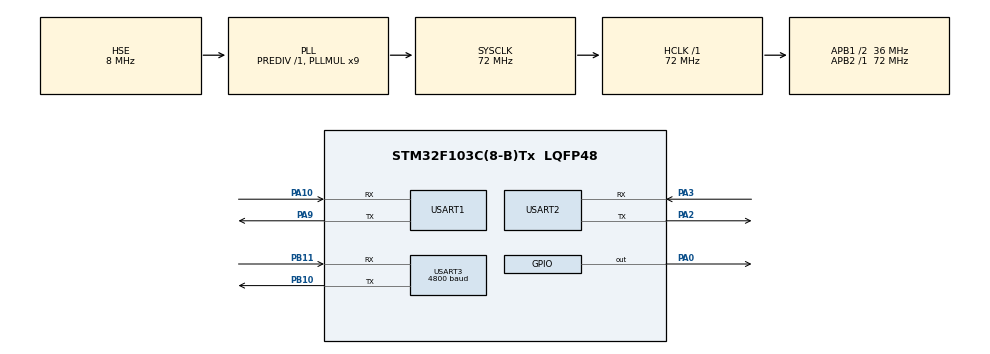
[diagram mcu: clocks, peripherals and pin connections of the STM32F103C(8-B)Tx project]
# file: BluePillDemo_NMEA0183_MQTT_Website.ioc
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Dma.Request0=USART1_RX
Dma.Request1=USART1_TX
Dma.Request2=USART3_RX
Dma.USART1_RX.0.Direction=DMA_PERIPH_TO_MEMORY
Dma.USART1_RX.0.Instance=DMA1_Channel5
Dma.USART1_RX.0.MemDataAlignment=DMA_MDATAALIGN_BYTE
Dma.USART1_RX.0.MemInc=DMA_MINC_ENABLE
Dma.USART1_RX.0.Mode=DMA_CIRCULAR
Dma.USART1_RX.0.PeriphDataAlignment=DMA_PDATAALIGN_BYTE
Dma.USART1_RX.0.PeriphInc=DMA_PINC_DISABLE
Dma.USART1_RX.0.Priority=DMA_PRIORITY_VERY_HIGH
Dma.USART1_TX.1.Direction=DMA_MEMORY_TO_PERIPH
Dma.USART1_TX.1.Instance=DMA1_Channel4
Dma.USART1_TX.1.MemDataAlignment=DMA_MDATAALIGN_BYTE
Dma.USART1_TX.1.MemInc=DMA_MINC_ENABLE
Dma.USART1_TX.1.Mode=DMA_NORMAL
Dma.USART1_TX.1.PeriphDataAlignment=DMA_PDATAALIGN_BYTE
Dma.USART1_TX.1.PeriphInc=DMA_PINC_DISABLE
Dma.USART1_TX.1.Priority=DMA_PRIORITY_VERY_HIGH
Dma.USART3_RX.2.Direction=DMA_PERIPH_TO_MEMORY
Dma.USART3_RX.2.Instance=DMA1_Channel3
Dma.USART3_RX.2.MemDataAlignment=DMA_MDATAALIGN_BYTE
Dma.USART3_RX.2.MemInc=DMA_MINC_ENABLE
Dma.USART3_RX.2.Mode=DMA_CIRCULAR
Dma.USART3_RX.2.PeriphDataAlignment=DMA_PDATAALIGN_BYTE
Dma.USART3_RX.2.PeriphInc=DMA_PINC_DISABLE
Dma.USART3_RX.2.Priority=DMA_PRIORITY_HIGH
FREERTOS.Queues01=commandQueue,1,AtCommandPacket_t,0,Static,commandQueueBuffer,commandQueueControlBlock;responseQueue,1,AtResponsePacket_t,0,Static,responseQueueBuffer,responseQueueControlBlock
FREERTOS.RecursiveMutexes01=modemMutex,Static,modemMutexControlBlock
FREERTOS.Tasks01=main,24,250,mainTask,Default,NULL,Static,mainBuffer,mainControlBlock;modem,8,350,modemTask,Default,NULL,Static,modemBuffer,modemControlBlock
FREERTOS.configCHECK_FOR_STACK_OVERFLOW=2
IWDG.Prescaler=IWDG_PRESCALER_256
Mcu.Family=STM32F1
Mcu.Name=STM32F103C(8-B)Tx
Mcu.Package=LQFP48
NVIC.DMA1_Channel3_IRQn=true\:5\:0\:false\:false\:true\:true\:false\:true
NVIC.DMA1_Channel4_IRQn=true\:5\:0\:false\:false\:true\:true\:false\:true
NVIC.DMA1_Channel5_IRQn=true\:5\:0\:false\:false\:true\:true\:false\:true
NVIC.PriorityGroup=NVIC_PRIORITYGROUP_4
NVIC.TIM1_UP_IRQn=true\:0\:0\:false\:false\:true\:false\:false\:true
NVIC.TimeBase=TIM1_UP_IRQn
NVIC.TimeBaseIP=TIM1
NVIC.USART1_IRQn=true\:5\:0\:false\:false\:true\:true\:true\:true
NVIC.USART3_IRQn=true\:5\:0\:false\:false\:true\:true\:true\:true
PA0-WKUP.Signal=GPIO_Output
PA10.Mode=Asynchronous
PA10.Signal=USART1_RX
PA13.Mode=Serial_Wire
PA13.Signal=SYS_JTMS-SWDIO
PA14.Mode=Serial_Wire
PA14.Signal=SYS_JTCK-SWCLK
PA2.Mode=Asynchronous
PA2.Signal=USART2_TX
PA3.Mode=Asynchronous
PA3.Signal=USART2_RX
PA9.Mode=Asynchronous
PA9.Signal=USART1_TX
PB10.Mode=Asynchronous
PB10.Signal=USART3_TX
PB11.Mode=Asynchronous
PB11.Signal=USART3_RX
PC14-OSC32_IN.Mode=LSE-External-Oscillator
PC14-OSC32_IN.Signal=RCC_OSC32_IN
PC15-OSC32_OUT.Mode=LSE-External-Oscillator
PC15-OSC32_OUT.Signal=RCC_OSC32_OUT
PD0-OSC_IN.Mode=HSE-External-Oscillator
PD0-OSC_IN.Signal=RCC_OSC_IN
PD1-OSC_OUT.Mode=HSE-External-Oscillator
PD1-OSC_OUT.Signal=RCC_OSC_OUT
ProjectManager.HeapSize=0x200
ProjectManager.StackSize=0x400
ProjectManager.TargetToolchain=STM32CubeIDE
RCC.ADCPresc=RCC_ADCPCLK2_DIV6
RCC.AHBFreq_Value=72000000
RCC.APB1CLKDivider=RCC_HCLK_DIV2
RCC.APB1Freq_Value=36000000
RCC.APB1TimFreq_Value=72000000
RCC.APB2Freq_Value=72000000
RCC.APB2TimFreq_Value=72000000
RCC.HCLKFreq_Value=72000000
RCC.PLLMUL=RCC_PLL_MUL9
RCC.PLLSourceVirtual=RCC_PLLSOURCE_HSE
RCC.SYSCLKFreq_VALUE=72000000
RCC.SYSCLKSource=RCC_SYSCLKSOURCE_PLLCLK
RCC.USBFreq_Value=72000000
USART1.VirtualMode=VM_ASYNC
USART2.VirtualMode=VM_ASYNC
USART3.BaudRate=4800
USART3.VirtualMode=VM_ASYNC
VP_FREERTOS_VS_CMSIS_V2.Mode=CMSIS_V2
VP_IWDG_VS_IWDG.Mode=IWDG_Activate
VP_SYS_VS_tim1.Mode=TIM1
board=custom

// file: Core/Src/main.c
/* USER CODE BEGIN Header */
/**
  ******************************************************************************
  * @file           : main.c
  * @brief          : Main program body
  ******************************************************************************
  * @attention
  *
  * <h2><center>&copy; Copyright (c) 2020 STMicroelectronics.
  * All rights reserved.</center></h2>
  *
  * This software component is licensed by ST under BSD 3-Clause license,
  * the "License"; You may not use this file except in compliance with the
  * License. You may obtain a copy of the License at:
  *                        opensource.org/licenses/BSD-3-Clause
  *
  ******************************************************************************
  */
/* USER CODE END Header */

#include "main.h"
#include "cmsis_os.h"

/* USER CODE BEGIN Includes */
#include <stdlib.h>
#include <stdint.h>
#include <stdbool.h>
#include <string.h>
#include <math.h>
#include "task.h"
#include "modem.h"
#include "buffered_serial.h"
#include "buffered_serial2.h"
#include "mqtt.h"
#include "printf.h"
#include "nmea.h"

/* USER CODE END Includes */

/* USER CODE BEGIN PD */

/**** SET YOUR OWN VALUES HERE ****/
#define ACCESS_POINT_NAME					"everywhere"			// SET YOUR OWN VALUE network settings
#define USER_NAME							"eesecure"				// SET YOUR OWN VALUE may be blank for some networks in which case change to NULL (not "NULL")
#define PASSWORD							"secure"				// SET YOUR OWN VALUE may be blank for some networks in which case change to NULL (not "NULL")
#define MQTT_PUBLISH_TOPIC_ROOT				"BluePillDemo"			// SET YOUR OWN VALUE topic root for all published values
//#error "Remove this line when you have set your own values above"

#define PUBLISH_PERIOD_MS					5000UL					// time in ms that changed values are published
#define MINIMUM_REPUBLISH_TIME_MS			30000UL					// time in ms that values are republished even if unchanged
#define NETWORK_REGISTRATION_WAIT_TIME_MS	30000UL					// time to wait for network registration before giving up

/* USER CODE END PD */

/* USER CODE BEGIN PM */
#define MY_SNPRINTF snprintf	// newlib snprintf with float support is too heavy and not threadsafe so using local snprintf from printf.c
								// but this causes a compile warning that float support is off so use this macro to prevent it

/* USER CODE END PM */

IWDG_HandleTypeDef hiwdg;

UART_HandleTypeDef huart1;
UART_HandleTypeDef huart2;
UART_HandleTypeDef huart3;
DMA_HandleTypeDef hdma_usart1_rx;
DMA_HandleTypeDef hdma_usart1_tx;
DMA_HandleTypeDef hdma_usart3_rx;

typedef StaticTask_t osStaticThreadDef_t;
typedef StaticQueue_t osStaticMessageQDef_t;
typedef StaticSemaphore_t osStaticMutexDef_t;
osThreadId_t mainHandle;
uint32_t mainBuffer[ 250 ];
osStaticThreadDef_t mainControlBlock;
osThreadId_t modemHandle;
uint32_t modemBuffer[ 350 ];
osStaticThreadDef_t modemControlBlock;
osMessageQueueId_t commandQueueHandle;
uint8_t commandQueueBuffer[ 1 * sizeof( AtCommandPacket_t ) ];
osStaticMessageQDef_t commandQueueControlBlock;
osMessageQueueId_t responseQueueHandle;
uint8_t responseQueueBuffer[ 1 * sizeof( AtResponsePacket_t ) ];
osStaticMessageQDef_t responseQueueControlBlock;
osMutexId_t modemMutexHandle;
osStaticMutexDef_t modemMutexControlBlock;
/* USER CODE BEGIN PV */
osEventFlagsId_t modemTaskStartedEventHandle;
static bool subscribeResponseReceived;
static uint16_t subscribeResponsePacketIdentifier;

// RMC receive message
static void RMC_receive_callback(char *data);
static nmea_message_data_RMC_t nmea_message_data_RMC;
static const nmea_receive_message_details_t nmea_receive_message_details_RMC = {nmea_message_RMC, RMC_receive_callback};
static float newSog;
static float oldSog;
static bool sogReceived;
static uint32_t sogLastPubTime = UINT32_MAX / 2;
static int16_t newCog;
static int16_t oldCog;
static bool cogReceived;
static uint32_t cogLastPubTime = UINT32_MAX / 2;
static float newLatitude;
static float oldLatitude;
static bool latReceived;
static uint32_t latitudeLastPubTime = UINT32_MAX / 2;
static float newLongitude;
static float oldLongitude;
static bool longReceived;
static uint32_t longitudeLastPubTime = UINT32_MAX / 2;

// DPT receive message
static void DPT_receive_callback(char *data);
static nmea_message_data_DPT_t nmea_message_data_DPT;
static const nmea_receive_message_details_t nmea_receive_message_details_DPT = {nmea_message_DPT, DPT_receive_callback};
static float newDepth;
static float oldDepth;
static bool depthReceived;
static uint32_t depthLastPubTime = UINT32_MAX / 2;

/* USER CODE END PV */

void SystemClock_Config(void);
static void MX_GPIO_Init(void);
static void MX_DMA_Init(void);
static void MX_USART1_UART_Init(void);
static void MX_USART2_UART_Init(void);
static void MX_IWDG_Init(void);
static void MX_USART3_UART_Init(void);
void mainTask(void *argument);
void modemTask(void *argument);

/* USER CODE BEGIN PFP */
void ModemDebugPrintStatus(const char *text, ModemStatus_t modemStatus);
void MqttDebugPrintStatus(const char *text, MqttStatus_t mqttStatus);
void PublishCallback(const char *topic, uint8_t topicLength, const uint8_t *payload, uint32_t payloadLength);
void PingResponseCallback(void);
void SubscribeResponseCallback(uint16_t packetIdentifier, bool success);
void UnsubscribeResponseCallback(uint16_t packetIdentifier);
static void DebugPrint(const char *text);

/* USER CODE END PFP */

/* USER CODE BEGIN 0 */

static void RMC_receive_callback(char *data)
{
	float int_part;
	float frac_part;

	if (nmea_decode_RMC(data, &nmea_message_data_RMC) == nmea_error_none)
	{
		if (nmea_message_data_RMC.status == 'A')
		{
			if (nmea_message_data_RMC.data_available & NMEA_RMC_SOG_PRESENT)
			{
				newSog = nmea_message_data_RMC.SOG;
				sogReceived = true;;
			}

			if (nmea_message_data_RMC.data_available & NMEA_RMC_COG_PRESENT)
			{
				newCog = nmea_message_data_RMC.COG;
				cogReceived = true;
			}

			if (nmea_message_data_RMC.data_available & NMEA_RMC_LATITUDE_PRESENT)
			{
				frac_part = modff(nmea_message_data_RMC.latitude / 100.0f, &int_part);
				newLatitude = int_part;
				newLatitude += frac_part / 0.6f;

				latReceived = true;
			}

			if (nmea_message_data_RMC.data_available & NMEA_RMC_LONGITUDE_PRESENT)
			{
				frac_part = modff(nmea_message_data_RMC.longitude / 100.0f, &int_part);
				newLongitude = int_part;
				newLongitude += frac_part / 0.6f;
				longReceived = true;
			}
		}
	}
}

static void DPT_receive_callback(char *data)
{
	if (nmea_decode_DPT(data, &nmea_message_data_DPT) == nmea_error_none)
	{
		if (nmea_message_data_DPT.data_available & NMEA_DPT_DEPTH_PRESENT)
		{
			newDepth = nmea_message_data_DPT.depth;
			depthReceived = true;;
		}
	}
}
// todo add more NMEA0183 message type callbacks here

void SubscribeResponseCallback(uint16_t packetIdentifier, bool success)
{
  subscribeResponseReceived = success;
  subscribeResponsePacketIdentifier = packetIdentifier;
}

void MqttDebugPrintStatus(const char *text, MqttStatus_t mqttStatus)
{
  DebugPrint(text);
  DebugPrint(": ");
  DebugPrint(MqttStatusToText(mqttStatus));
  DebugPrint("\r\n");
}

static void DebugPrint(const char *text)
{
  HAL_UART_Transmit(&huart2, (uint8_t *)text, strlen(text), 100U);
}

void ModemDebugPrintStatus(const char *text, ModemStatus_t modemStatus)
{
  DebugPrint(text);
  DebugPrint(": ");
  DebugPrint(ModemStatusToText(modemStatus));
  DebugPrint("\r\n");
}

/* USER CODE END 0 */

int main(void)
{

  /* MCU Configuration--------------------------------------------------------*/

  /* Reset of all peripherals, Initializes the Flash interface and the Systick. */
  HAL_Init();

  /* Configure the system clock */
  SystemClock_Config();

  /* Initialize all configured peripherals */
  MX_GPIO_Init();
  MX_DMA_Init();
  MX_USART1_UART_Init();
  MX_USART2_UART_Init();
  MX_IWDG_Init();
  MX_USART3_UART_Init();

  osKernelInitialize();

  /* Create the recursive mutex(es) */
  /* definition and creation of modemMutex */
  const osMutexAttr_t modemMutex_attributes = {
    .name = "modemMutex",
    .attr_bits = osMutexRecursive,
    .cb_mem = &modemMutexControlBlock,
    .cb_size = sizeof(modemMutexControlBlock),
  };
  modemMutexHandle = osMutexNew(&modemMutex_attributes);

  /* USER CODE BEGIN RTOS_SEMAPHORES */
  /* add semaphores, ... */
  modemTaskStartedEventHandle = osEventFlagsNew(NULL);

  /* USER CODE END RTOS_SEMAPHORES */

  /* Create the queue(s) */
  /* definition and creation of commandQueue */
  const osMessageQueueAttr_t commandQueue_attributes = {
    .name = "commandQueue",
    .cb_mem = &commandQueueControlBlock,
    .cb_size = sizeof(commandQueueControlBlock),
    .mq_mem = &commandQueueBuffer,
    .mq_size = sizeof(commandQueueBuffer)
  };
  commandQueueHandle = osMessageQueueNew (1, sizeof(AtCommandPacket_t), &commandQueue_attributes);

  /* definition and creation of responseQueue */
  const osMessageQueueAttr_t responseQueue_attributes = {
    .name = "responseQueue",
    .cb_mem = &responseQueueControlBlock,
    .cb_size = sizeof(responseQueueControlBlock),
    .mq_mem = &responseQueueBuffer,
    .mq_size = sizeof(responseQueueBuffer)
  };
  responseQueueHandle = osMessageQueueNew (1, sizeof(AtResponsePacket_t), &responseQueue_attributes);

  /* Create the thread(s) */
  /* definition and creation of main */
  const osThreadAttr_t main_attributes = {
    .name = "main",
    .stack_mem = &mainBuffer[0],
    .stack_size = sizeof(mainBuffer),
    .cb_mem = &mainControlBlock,
    .cb_size = sizeof(mainControlBlock),
    .priority = (osPriority_t) osPriorityNormal,
  };
  mainHandle = osThreadNew(mainTask, NULL, &main_attributes);

  /* definition and creation of modem */
  const osThreadAttr_t modem_attributes = {
    .name = "modem",
    .stack_mem = &modemBuffer[0],
    .stack_size = sizeof(modemBuffer),
    .cb_mem = &modemControlBlock,
    .cb_size = sizeof(modemControlBlock),
    .priority = (osPriority_t) osPriorityLow,
  };
  modemHandle = osThreadNew(modemTask, NULL, &modem_attributes);

  /* Start scheduler */
  osKernelStart();

  /* We should never get here as control is now taken by the scheduler */

  /* Infinite loop */
  while (1)
  {

  }
}

void SystemClock_Config(void)
{
  RCC_OscInitTypeDef RCC_OscInitStruct = {0};
  RCC_ClkInitTypeDef RCC_ClkInitStruct = {0};

  /** Initializes the CPU, AHB and APB busses clocks
  */
  RCC_OscInitStruct.OscillatorType = RCC_OSCILLATORTYPE_LSI|RCC_OSCILLATORTYPE_HSE;
  RCC_OscInitStruct.HSEState = RCC_HSE_ON;
  RCC_OscInitStruct.HSEPredivValue = RCC_HSE_PREDIV_DIV1;
  RCC_OscInitStruct.HSIState = RCC_HSI_ON;
  RCC_OscInitStruct.LSIState = RCC_LSI_ON;
  RCC_OscInitStruct.PLL.PLLState = RCC_PLL_ON;
  RCC_OscInitStruct.PLL.PLLSource = RCC_PLLSOURCE_HSE;
  RCC_OscInitStruct.PLL.PLLMUL = RCC_PLL_MUL9;
  if (HAL_RCC_OscConfig(&RCC_OscInitStruct) != HAL_OK)
  {
    Error_Handler();
  }
  /** Initializes the CPU, AHB and APB busses clocks
  */
  RCC_ClkInitStruct.ClockType = RCC_CLOCKTYPE_HCLK|RCC_CLOCKTYPE_SYSCLK
                              |RCC_CLOCKTYPE_PCLK1|RCC_CLOCKTYPE_PCLK2;
  RCC_ClkInitStruct.SYSCLKSource = RCC_SYSCLKSOURCE_PLLCLK;
  RCC_ClkInitStruct.AHBCLKDivider = RCC_SYSCLK_DIV1;
  RCC_ClkInitStruct.APB1CLKDivider = RCC_HCLK_DIV2;
  RCC_ClkInitStruct.APB2CLKDivider = RCC_HCLK_DIV1;

  if (HAL_RCC_ClockConfig(&RCC_ClkInitStruct, FLASH_LATENCY_2) != HAL_OK)
  {
    Error_Handler();
  }
}

static void MX_IWDG_Init(void)
{

  hiwdg.Instance = IWDG;
  hiwdg.Init.Prescaler = IWDG_PRESCALER_256;
  hiwdg.Init.Reload = 4095;
  if (HAL_IWDG_Init(&hiwdg) != HAL_OK)
  {
    Error_Handler();
  }

}

static void MX_USART1_UART_Init(void)
{

  huart1.Instance = USART1;
  huart1.Init.BaudRate = 115200;
  huart1.Init.WordLength = UART_WORDLENGTH_8B;
  huart1.Init.StopBits = UART_STOPBITS_1;
  huart1.Init.Parity = UART_PARITY_NONE;
  huart1.Init.Mode = UART_MODE_TX_RX;
  huart1.Init.HwFlowCtl = UART_HWCONTROL_NONE;
  huart1.Init.OverSampling = UART_OVERSAMPLING_16;
  if (HAL_UART_Init(&huart1) != HAL_OK)
  {
    Error_Handler();
  }

}

static void MX_USART2_UART_Init(void)
{

  huart2.Instance = USART2;
  huart2.Init.BaudRate = 115200;
  huart2.Init.WordLength = UART_WORDLENGTH_8B;
  huart2.Init.StopBits = UART_STOPBITS_1;
  huart2.Init.Parity = UART_PARITY_NONE;
  huart2.Init.Mode = UART_MODE_TX_RX;
  huart2.Init.HwFlowCtl = UART_HWCONTROL_NONE;
  huart2.Init.OverSampling = UART_OVERSAMPLING_16;
  if (HAL_UART_Init(&huart2) != HAL_OK)
  {
    Error_Handler();
  }

}

static void MX_USART3_UART_Init(void)
{

  huart3.Instance = USART3;
  huart3.Init.BaudRate = 4800;
  huart3.Init.WordLength = UART_WORDLENGTH_8B;
  huart3.Init.StopBits = UART_STOPBITS_1;
  huart3.Init.Parity = UART_PARITY_NONE;
  huart3.Init.Mode = UART_MODE_TX_RX;
  huart3.Init.HwFlowCtl = UART_HWCONTROL_NONE;
  huart3.Init.OverSampling = UART_OVERSAMPLING_16;
  if (HAL_UART_Init(&huart3) != HAL_OK)
  {
    Error_Handler();
  }

}

static void MX_DMA_Init(void)
{

  /* DMA controller clock enable */
  __HAL_RCC_DMA1_CLK_ENABLE();

  /* DMA interrupt init */
  /* DMA1_Channel3_IRQn interrupt configuration */
  HAL_NVIC_SetPriority(DMA1_Channel3_IRQn, 5, 0);
  HAL_NVIC_EnableIRQ(DMA1_Channel3_IRQn);
  /* DMA1_Channel4_IRQn interrupt configuration */
  HAL_NVIC_SetPriority(DMA1_Channel4_IRQn, 5, 0);
  HAL_NVIC_EnableIRQ(DMA1_Channel4_IRQn);
  /* DMA1_Channel5_IRQn interrupt configuration */
  HAL_NVIC_SetPriority(DMA1_Channel5_IRQn, 5, 0);
  HAL_NVIC_EnableIRQ(DMA1_Channel5_IRQn);

}

static void MX_GPIO_Init(void)
{
  GPIO_InitTypeDef GPIO_InitStruct = {0};

  /* GPIO Ports Clock Enable */
  __HAL_RCC_GPIOC_CLK_ENABLE();
  __HAL_RCC_GPIOD_CLK_ENABLE();
  __HAL_RCC_GPIOA_CLK_ENABLE();
  __HAL_RCC_GPIOB_CLK_ENABLE();

  /*Configure GPIO pin Output Level */
  HAL_GPIO_WritePin(GPIOA, GPIO_PIN_0, GPIO_PIN_RESET);

  /*Configure GPIO pin : PA0 */
  GPIO_InitStruct.Pin = GPIO_PIN_0;
  GPIO_InitStruct.Mode = GPIO_MODE_OUTPUT_PP;
  GPIO_InitStruct.Pull = GPIO_NOPULL;
  GPIO_InitStruct.Speed = GPIO_SPEED_FREQ_LOW;
  HAL_GPIO_Init(GPIOA, &GPIO_InitStruct);

}

void mainTask(void *argument)
{
  /* USER CODE BEGIN 5 */
  ModemStatus_t modemStatus;
  MqttStatus_t mqttStatus;
  bool registrationStatus;
  char ipAddress[MODEM_MAX_IP_ADDRESS_LENGTH];
  uint32_t startTime;

  // kick watchdog
  HAL_IWDG_Refresh(&hiwdg);

  // wait for modem task to start
  osEventFlagsWait(modemTaskStartedEventHandle, 0x00000001UL, osFlagsWaitAny, osWaitForever);

  // start modem serial port reception
  serial_init();

  nmea_enable_receive_message(&nmea_receive_message_details_RMC);
  nmea_enable_receive_message(&nmea_receive_message_details_DPT);
  // todo add more enable receive calls for NMEA0183 messag etypes here

  // kick watchdog
  HAL_IWDG_Refresh(&hiwdg);

  modemStatus = ModemHello(250UL);
  ModemDebugPrintStatus("Hello", modemStatus);

  DebugPrint("Attempting to register on network\r\n");
  startTime = osKernelGetTickCount();
  do
  {
    // kick watchdog
    HAL_IWDG_Refresh(&hiwdg);

	ModemGetNetworkRegistrationStatus(&registrationStatus, 250UL);
	osDelay(1000UL);

	if (osKernelGetTickCount() > startTime + NETWORK_REGISTRATION_WAIT_TIME_MS)
	{
		DebugPrint("Could not register on network, rebooting\r\n");
		while (true)
		{
		  osDelay(1000UL);
		}
	}
  } while (!registrationStatus);
  ModemDebugPrintStatus("Register on network", modemStatus);

  modemStatus = ModemSetManualDataRead(250UL);
  ModemDebugPrintStatus("Set manual read", modemStatus);

  if (modemStatus >= MODEM_OK)
  {
    modemStatus = ModemConfigureDataConnection(ACCESS_POINT_NAME, USER_NAME, PASSWORD, 250UL);
    ModemDebugPrintStatus("Configure data connection", modemStatus);
  }

  if (modemStatus >= MODEM_OK)
  {
	modemStatus = ModemActivateDataConnection(10000UL);
    ModemDebugPrintStatus("Activate data connection", modemStatus);
  }

  if (modemStatus >= MODEM_OK)
  {
    modemStatus = ModemGetOwnIpAddress(ipAddress, MODEM_MAX_IP_ADDRESS_LENGTH, 250UL);
    ModemDebugPrintStatus("Get own IP address", modemStatus);
  }

  if (modemStatus < MODEM_OK)
  {
	  DebugPrint("Modem error in modem configuration, rebooting\r\n");
	  while (true)
	  {
	    osDelay(1000UL);
	  }
  }

  MqttSetSubscribeResponseCallback(SubscribeResponseCallback);

  // kick watchdog
  HAL_IWDG_Refresh(&hiwdg);

  // open TCP connection to broker
  modemStatus = ModemOpenTcpConnection("broker.hivemq.com", 1883U, 8000UL);
  ModemDebugPrintStatus("Open TCP connection", modemStatus);

  // kick watchdog
  HAL_IWDG_Refresh(&hiwdg);

  if (modemStatus < MODEM_OK)
  {
	  DebugPrint("Could not open connection to broker, rebooting\r\n");
	  while (true)
	  {
	    osDelay(1000UL);
	  }
  }

  // connect to broker
  mqttStatus = MqttConnect("1234", NULL, NULL, 600U, 20000UL);
  MqttDebugPrintStatus("MQTT connect", mqttStatus);
  if (mqttStatus != MQTT_OK)
  {
	DebugPrint("Could not connect to broker, rebooting\r\n");
	while (true)
	{
	  osDelay(1000UL);
	}
  }

  // start NMEA0183 serial port reception
  serial2_init();

  // go into main loop
  while (true)
  {
	// kick watchdog
	HAL_IWDG_Refresh(&hiwdg);

	// go into wait loop checking for incoming nmea messages and incoming MQTT responses
	startTime = osKernelGetTickCount();
	uint8_t i = 0U;
	while (true)
	{
		nmea_process();
	    osDelay(10UL);

	    i++;
	    if (i == 25U)
	    {
	    	i = 0U;
	    	mqttStatus = MqttHandleResponse(5000UL);
	    }

		if (osKernelGetTickCount() > startTime + PUBLISH_PERIOD_MS)
		{
			break;
		}
	}

    char buf[20];

    // DPT message handling
    if (depthReceived && mqttStatus >= MQTT_OK)
    {
      depthReceived = false;
      if (oldDepth != newDepth || (osKernelGetTickCount() - depthLastPubTime > MINIMUM_REPUBLISH_TIME_MS))
      {
		  MY_SNPRINTF(buf, sizeof(buf), "%.1f", newDepth);
		  mqttStatus = MqttPublish(MQTT_PUBLISH_TOPIC_ROOT "/depth", (uint8_t *)buf, strlen(buf), false, 5000UL);
		  oldDepth = newDepth;
		  depthLastPubTime = osKernelGetTickCount();
      }
    }

    // RMC message handling
    if (sogReceived && mqttStatus >= MQTT_OK)
    {
      sogReceived = false;
      if (oldSog != newSog || (osKernelGetTickCount() - sogLastPubTime > MINIMUM_REPUBLISH_TIME_MS))
      {
		  MY_SNPRINTF(buf, sizeof(buf), "%.1f", newSog);
		  mqttStatus = MqttPublish(MQTT_PUBLISH_TOPIC_ROOT "/sog", (uint8_t *)buf, strlen(buf), false, 5000UL);
		  oldSog = newSog;
		  sogLastPubTime = osKernelGetTickCount();
      }
    }

    if (cogReceived && mqttStatus >= MQTT_OK)
    {
	  cogReceived = false;
	  if (newCog != oldCog || (osKernelGetTickCount() - cogLastPubTime > MINIMUM_REPUBLISH_TIME_MS))
	  {
		  MY_SNPRINTF(buf, sizeof(buf), "%hu", newCog);
		  mqttStatus = MqttPublish(MQTT_PUBLISH_TOPIC_ROOT "/cog", (uint8_t *)buf, strlen(buf), false, 5000UL);
		  oldCog = newCog;
		  cogLastPubTime = osKernelGetTickCount();
	  }
    }

    if (latReceived && mqttStatus >= MQTT_OK)
    {
  	  latReceived = false;

      if (newLatitude != oldLatitude || (osKernelGetTickCount() - latitudeLastPubTime > MINIMUM_REPUBLISH_TIME_MS))
      {
		  MY_SNPRINTF(buf, sizeof(buf), "%f", newLatitude);
		  mqttStatus = MqttPublish(MQTT_PUBLISH_TOPIC_ROOT "/lat", (uint8_t *)buf, strlen(buf), false, 5000UL);
		  oldLatitude = newLatitude;
		  latitudeLastPubTime = osKernelGetTickCount();
      }
    }

    if (longReceived && mqttStatus >= MQTT_OK)
    {
  	  longReceived = false;

	  if (newLongitude != oldLongitude || (osKernelGetTickCount() - longitudeLastPubTime > MINIMUM_REPUBLISH_TIME_MS))
	  {
		  MY_SNPRINTF(buf, sizeof(buf), "%f", newLongitude);
		  mqttStatus = MqttPublish(MQTT_PUBLISH_TOPIC_ROOT "/long", (uint8_t *)buf, strlen(buf), false, 5000UL);
		  oldLongitude = newLongitude;
		  longitudeLastPubTime = osKernelGetTickCount();
	  }
    }

    // XXX message handling
    // todo add more NMEA0183 message type handling here

    if (mqttStatus < MQTT_OK)
    {
      MqttDebugPrintStatus("MQTT error, rebooting", mqttStatus);
	  while (true)
	  {
	    osDelay(1000UL);
	  }
    }
  }

  /* USER CODE END 5 */
}

void modemTask(void *argument)
{
  /* USER CODE BEGIN modemTask */
  ModemReset();
  ModemInit();

  // signal main task that this thread has started
  osEventFlagsSet(modemTaskStartedEventHandle, 0x00000001U);

  /* Infinite loop */
  DoModemTask();

  for(;;)
  {
    osDelay(1);
  }
  /* USER CODE END modemTask */
}

void HAL_TIM_PeriodElapsedCallback(TIM_HandleTypeDef *htim)
{
  if (htim->Instance == TIM1) {
    HAL_IncTick();
  }
}

void Error_Handler(void)
{
}

/************************ (C) COPYRIGHT STMicroelectronics *****END OF FILE****/

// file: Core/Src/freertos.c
/* USER CODE BEGIN Header */
/**
  ******************************************************************************
  * File Name          : freertos.c
  * Description        : Code for freertos applications
  ******************************************************************************
  * @attention
  *
  * <h2><center>&copy; Copyright (c) 2020 STMicroelectronics.
  * All rights reserved.</center></h2>
  *
  * This software component is licensed by ST under Ultimate Liberty license
  * SLA0044, the "License"; You may not use this file except in compliance with
  * the License. You may obtain a copy of the License at:
  *                             www.st.com/SLA0044
  *
  ******************************************************************************
  */
/* USER CODE END Header */

#include "FreeRTOS.h"
#include "task.h"
#include "main.h"

/* Hook prototypes */
void vApplicationStackOverflowHook(xTaskHandle xTask, signed char *pcTaskName);

/* USER CODE BEGIN 4 */
__weak void vApplicationStackOverflowHook(xTaskHandle xTask, signed char *pcTaskName)
{
   /* Run time stack overflow checking is performed if
   configCHECK_FOR_STACK_OVERFLOW is defined to 1 or 2. This hook function is
   called if a stack overflow is detected. */
}
/* USER CODE END 4 */

/************************ (C) COPYRIGHT STMicroelectronics *****END OF FILE****/
